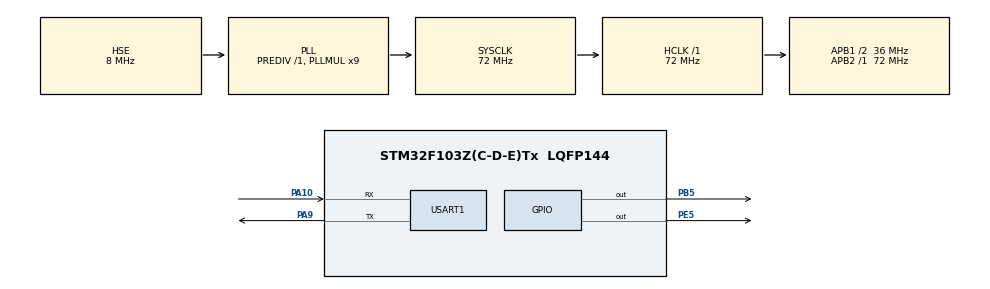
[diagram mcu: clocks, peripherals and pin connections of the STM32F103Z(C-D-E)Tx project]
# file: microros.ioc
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Dma.Request0=USART1_RX
Dma.Request1=USART1_TX
Dma.USART1_RX.0.Direction=DMA_PERIPH_TO_MEMORY
Dma.USART1_RX.0.Instance=DMA1_Channel5
Dma.USART1_RX.0.MemDataAlignment=DMA_MDATAALIGN_BYTE
Dma.USART1_RX.0.MemInc=DMA_MINC_ENABLE
Dma.USART1_RX.0.Mode=DMA_CIRCULAR
Dma.USART1_RX.0.PeriphDataAlignment=DMA_PDATAALIGN_BYTE
Dma.USART1_RX.0.PeriphInc=DMA_PINC_DISABLE
Dma.USART1_RX.0.Priority=DMA_PRIORITY_VERY_HIGH
Dma.USART1_TX.1.Direction=DMA_MEMORY_TO_PERIPH
Dma.USART1_TX.1.Instance=DMA1_Channel4
Dma.USART1_TX.1.MemDataAlignment=DMA_MDATAALIGN_BYTE
Dma.USART1_TX.1.MemInc=DMA_MINC_ENABLE
Dma.USART1_TX.1.Mode=DMA_NORMAL
Dma.USART1_TX.1.PeriphDataAlignment=DMA_PDATAALIGN_BYTE
Dma.USART1_TX.1.PeriphInc=DMA_PINC_DISABLE
Dma.USART1_TX.1.Priority=DMA_PRIORITY_VERY_HIGH
FREERTOS.Tasks01=defaultTask,24,3000,StartDefaultTask,Default,NULL,Dynamic,NULL,NULL
FREERTOS.configTOTAL_HEAP_SIZE=13000
Mcu.Family=STM32F1
Mcu.Name=STM32F103Z(C-D-E)Tx
Mcu.Package=LQFP144
NVIC.DMA1_Channel4_IRQn=true\:5\:0\:false\:false\:true\:true\:false\:true\:true
NVIC.DMA1_Channel5_IRQn=true\:5\:0\:false\:false\:true\:true\:false\:true\:true
NVIC.PriorityGroup=NVIC_PRIORITYGROUP_4
NVIC.TIM1_UP_IRQn=true\:15\:0\:false\:false\:true\:false\:false\:true\:true
NVIC.TimeBase=TIM1_UP_IRQn
NVIC.TimeBaseIP=TIM1
NVIC.USART1_IRQn=true\:5\:0\:false\:false\:true\:true\:true\:true\:true
OSC_IN.Mode=HSE-External-Oscillator
OSC_IN.Signal=RCC_OSC_IN
OSC_OUT.Mode=HSE-External-Oscillator
OSC_OUT.Signal=RCC_OSC_OUT
PA10.Mode=Asynchronous
PA10.Signal=USART1_RX
PA13.Mode=Serial_Wire
PA13.Signal=SYS_JTMS-SWDIO
PA14.Mode=Serial_Wire
PA14.Signal=SYS_JTCK-SWCLK
PA9.Mode=Asynchronous
PA9.Signal=USART1_TX
PB5.PinState=GPIO_PIN_SET
PB5.Signal=GPIO_Output
PE5.PinState=GPIO_PIN_SET
PE5.Signal=GPIO_Output
ProjectManager.HeapSize=0x200
ProjectManager.StackSize=0x300
ProjectManager.TargetToolchain=Makefile
RCC.AHBFreq_Value=72000000
RCC.APB1CLKDivider=RCC_HCLK_DIV2
RCC.APB1Freq_Value=36000000
RCC.APB1TimFreq_Value=72000000
RCC.APB2Freq_Value=72000000
RCC.APB2TimFreq_Value=72000000
RCC.HCLKFreq_Value=72000000
RCC.PLLMUL=RCC_PLL_MUL9
RCC.PLLSourceVirtual=RCC_PLLSOURCE_HSE
RCC.SYSCLKFreq_VALUE=72000000
RCC.SYSCLKSource=RCC_SYSCLKSOURCE_PLLCLK
RCC.USBFreq_Value=72000000
USART1.VirtualMode=VM_ASYNC
VP_FREERTOS_VS_CMSIS_V2.Mode=CMSIS_V2
VP_SYS_VS_tim1.Mode=TIM1
board=custom

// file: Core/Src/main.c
/* USER CODE BEGIN Header */
/**
 ******************************************************************************
 * @file           : main.c
 * @brief          : Main program body
 ******************************************************************************
 * @attention
 *
 * Copyright (c) 2024 STMicroelectronics.
 * All rights reserved.
 *
 * This software is licensed under terms that can be found in the LICENSE file
 * in the root directory of this software component.
 * If no LICENSE file comes with this software, it is provided AS-IS.
 *
 ******************************************************************************
 */
/* USER CODE END Header */
#include "main.h"
#include "cmsis_os.h"
#include "dma.h"
#include "usart.h"
#include "gpio.h"

/* USER CODE BEGIN Includes */
#include "microros.h"
/* USER CODE END Includes */

void SystemClock_Config(void);
void MX_FREERTOS_Init(void);

int main(void)
{

  /* MCU Configuration--------------------------------------------------------*/

  /* Reset of all peripherals, Initializes the Flash interface and the Systick. */
  HAL_Init();

  /* Configure the system clock */
  SystemClock_Config();

  /* Initialize all configured peripherals */
  MX_GPIO_Init();
  MX_DMA_Init();
  MX_USART1_UART_Init();

  /* Init scheduler */
  osKernelInitialize();

  /* Call init function for freertos objects (in cmsis_os2.c) */
  MX_FREERTOS_Init();

  /* Start scheduler */
  osKernelStart();

  /* We should never get here as control is now taken by the scheduler */

  /* Infinite loop */
  while (1)
  {

  }
}

void SystemClock_Config(void)
{
  RCC_OscInitTypeDef RCC_OscInitStruct = {0};
  RCC_ClkInitTypeDef RCC_ClkInitStruct = {0};

  /** Initializes the RCC Oscillators according to the specified parameters
   * in the RCC_OscInitTypeDef structure.
   */
  RCC_OscInitStruct.OscillatorType = RCC_OSCILLATORTYPE_HSE;
  RCC_OscInitStruct.HSEState = RCC_HSE_ON;
  RCC_OscInitStruct.HSEPredivValue = RCC_HSE_PREDIV_DIV1;
  RCC_OscInitStruct.HSIState = RCC_HSI_ON;
  RCC_OscInitStruct.PLL.PLLState = RCC_PLL_ON;
  RCC_OscInitStruct.PLL.PLLSource = RCC_PLLSOURCE_HSE;
  RCC_OscInitStruct.PLL.PLLMUL = RCC_PLL_MUL9;
  if (HAL_RCC_OscConfig(&RCC_OscInitStruct) != HAL_OK)
  {
    Error_Handler();
  }

  /** Initializes the CPU, AHB and APB buses clocks
   */
  RCC_ClkInitStruct.ClockType = RCC_CLOCKTYPE_HCLK | RCC_CLOCKTYPE_SYSCLK | RCC_CLOCKTYPE_PCLK1 | RCC_CLOCKTYPE_PCLK2;
  RCC_ClkInitStruct.SYSCLKSource = RCC_SYSCLKSOURCE_PLLCLK;
  RCC_ClkInitStruct.AHBCLKDivider = RCC_SYSCLK_DIV1;
  RCC_ClkInitStruct.APB1CLKDivider = RCC_HCLK_DIV2;
  RCC_ClkInitStruct.APB2CLKDivider = RCC_HCLK_DIV1;

  if (HAL_RCC_ClockConfig(&RCC_ClkInitStruct, FLASH_LATENCY_2) != HAL_OK)
  {
    Error_Handler();
  }
}

void HAL_TIM_PeriodElapsedCallback(TIM_HandleTypeDef *htim)
{
  if (htim->Instance == TIM1)
  {
    HAL_IncTick();
  }
}

void Error_Handler(void)
{
  __disable_irq();
  while (1)
  {
  }
}

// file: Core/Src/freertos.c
/* USER CODE BEGIN Header */
/**
 ******************************************************************************
 * File Name          : freertos.c
 * Description        : Code for freertos applications
 ******************************************************************************
 * @attention
 *
 * Copyright (c) 2024 STMicroelectronics.
 * All rights reserved.
 *
 * This software is licensed under terms that can be found in the LICENSE file
 * in the root directory of this software component.
 * If no LICENSE file comes with this software, it is provided AS-IS.
 *
 ******************************************************************************
 */
/* USER CODE END Header */

#include "FreeRTOS.h"
#include "task.h"
#include "main.h"
#include "cmsis_os.h"

/* USER CODE BEGIN Includes */
#include "microros.h"
#include "usart.h"
/* USER CODE END Includes */

/* Definitions for defaultTask */
osThreadId_t defaultTaskHandle;
const osThreadAttr_t defaultTask_attributes = {
    .name = "defaultTask",
    .stack_size = 3000 * 4,
    .priority = (osPriority_t)osPriorityNormal,
};

void StartDefaultTask(void *argument);

void MX_FREERTOS_Init(void); /* (MISRA C 2004 rule 8.1) */

void MX_FREERTOS_Init(void)
{

  /* Create the thread(s) */
  /* creation of defaultTask */
  defaultTaskHandle = osThreadNew(StartDefaultTask, NULL, &defaultTask_attributes);

}

void StartDefaultTask(void *argument)
{
  /* USER CODE BEGIN StartDefaultTask */
  /* Infinite loop */
  // micro-ROS configuration
  rmw_uros_set_custom_transport(
      true,
      (void *)&huart1,
      cubemx_transport_open,
      cubemx_transport_close,
      cubemx_transport_write,
      cubemx_transport_read);

  rcl_allocator_t freeRTOS_allocator = rcutils_get_zero_initialized_allocator();
  freeRTOS_allocator.allocate = microros_allocate;
  freeRTOS_allocator.deallocate = microros_deallocate;
  freeRTOS_allocator.reallocate = microros_reallocate;
  freeRTOS_allocator.zero_allocate = microros_zero_allocate;

  if (!rcutils_set_default_allocator(&freeRTOS_allocator))
  {
    printf("Error on default allocators (line %d)\n", __LINE__);
  }

  // micro-ROS app

  rcl_publisher_t publisher;
  std_msgs__msg__Int32 msg;
  rclc_support_t support;
  rcl_allocator_t allocator;
  rcl_node_t node;

  allocator = rcl_get_default_allocator();

  // create init_options
  rclc_support_init(&support, 0, NULL, &allocator);

  // create node
  rclc_node_init_default(&node, "cubemx_node", "", &support);

  // create publisher
  rclc_publisher_init_default(
      &publisher,
      &node,
      ROSIDL_GET_MSG_TYPE_SUPPORT(std_msgs, msg, Int32),
      "cubemx_publisher");

  msg.data = 0;

  for (;;)
  {
    rcl_ret_t ret;

    ret = rcl_publish(&publisher, &msg, NULL);
    if (ret != RCL_RET_OK)
    {
      printf("Error publishing (line %d)\n", __LINE__);
      // 故障灯
      HAL_GPIO_WritePin(GPIOE, GPIO_PIN_5, GPIO_PIN_RESET);
    }
    // 数据灯
    HAL_GPIO_TogglePin(GPIOB, GPIO_PIN_5);
    msg.data++;
    if (msg.data >= 999)
      msg.data = 0;
    osDelay(10);
  }
  /* USER CODE END StartDefaultTask */
}
